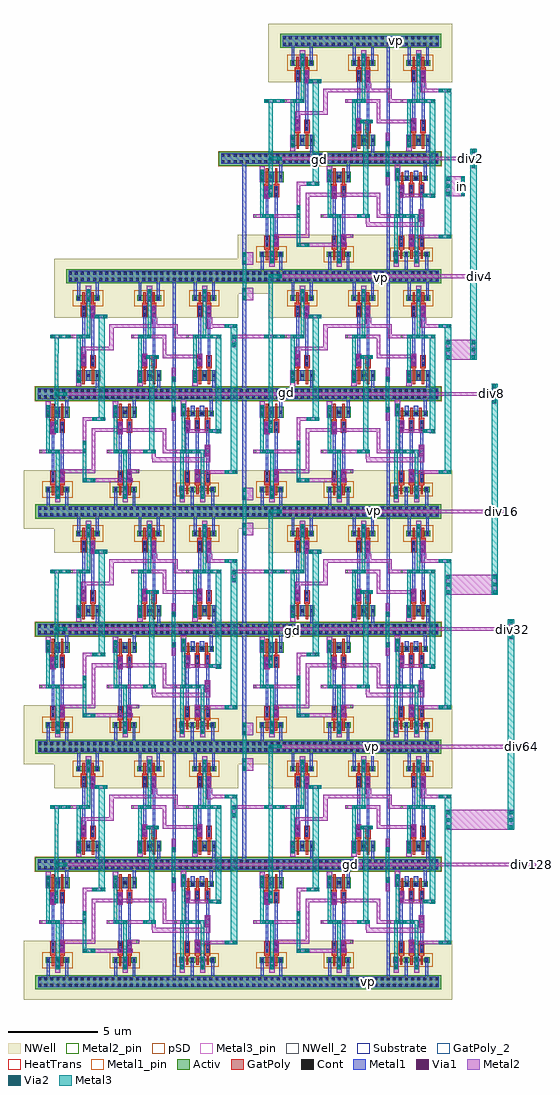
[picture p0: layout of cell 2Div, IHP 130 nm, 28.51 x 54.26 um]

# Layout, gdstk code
from math import pi, radians
import gdstk
lib = gdstk.Library(unit=1e-6, precision=1e-09)
def R(c, l, rs):  # rectangles x0, y0, x1, y1
    for r in rs: c.add(gdstk.rectangle(r[:2], r[2:], *l))
def A(c, l, x, y, w, h, nx, ny, dx, dy):  # array of equal rectangles
    R(c, l, [(x+i*dx, y+j*dy, x+i*dx+w, y+j*dy+h) for i in range(nx) for j in range(ny)])
Activ = (1, 0)
GatPoly = (5, 0)
GatPoly_2 = (5, 2)
Cont = (6, 0)
Metal1 = (8, 0)
Metal1_pin = (8, 2)
Metal2 = (10, 0)
Metal2_pin = (10, 2)
pSD = (14, 0)
Via1 = (19, 0)
Via2 = (29, 0)
Metal3 = (30, 0)
Metal3_pin = (30, 2)
NWell = (31, 0)
NWell_2 = (31, 2)
Substrate = (40, 0)
HeatTrans = (51, 0)

via_16_1_2 = lib.new_cell('Via$16$1$2')
R(via_16_1_2, Metal1, [(-0.105,-0.35,0.105,0.35)])
R(via_16_1_2, Metal2, [(-0.1,-0.35,0.1,0.35)])
R(via_16_1_2, Via1, [(-0.095,-0.3,0.095,-0.11), (-0.095,0.11,0.095,0.3)])

via_1_2_1_3 = lib.new_cell('Via$1$2$1$3')
R(via_1_2_1_3, Metal2, [(-0.1,-0.555,0.1,0.555)])
A(via_1_2_1_3, Via2, -0.095, -0.505, 0.19, 0.19, 1, 3, 0, 0.41)
R(via_1_2_1_3, Metal3, [(-0.1,-0.555,0.1,0.555)])

nmos_3 = lib.new_cell('nmos$3')
A(nmos_3, Activ, 0, 0, 0.3, 0.3, 4, 1, 0.51, 0)
R(nmos_3, Activ, [(0,0,1.83,0.3)])
A(nmos_3, GatPoly, 0.34, -0.18, 0.13, 0.66, 3, 1, 0.51, 0)
R(nmos_3, GatPoly_2, [(0.34,-0.18,0.47,0.48)])
A(nmos_3, Cont, 0.07, 0.07, 0.16, 0.16, 4, 1, 0.51, 0)
A(nmos_3, Metal1, 0.07, 0, 0.16, 0.3, 4, 1, 0.51, 0)
R(nmos_3, Metal1_pin, [(0.07,0,0.23,0.3), (0.58,0,0.74,0.3)])
A(nmos_3, HeatTrans, 0.34, -0.18, 0.13, 0.66, 3, 1, 0.51, 0)
nmos_3.add(gdstk.Label('nmos', (0.405,0.15), layer=63, texttype=0))
nmos_3.add(gdstk.Label('nmos', (0.405,0.15), layer=51, texttype=0))
nmos_3.add(gdstk.Label('nmos', (0.915,0.15), layer=51, texttype=0))
nmos_3.add(gdstk.Label('nmos', (1.425,0.15), layer=51, texttype=0))

ntap1_8_1 = lib.new_cell('ntap1$8$1')
R(ntap1_8_1, Activ, [(0,0,3.5,0.78)])
A(ntap1_8_1, Cont, 0.14, 0.14, 0.16, 0.16, 10, 2, 0.34, 0.34)
R(ntap1_8_1, Metal1, [(0.14,0.09,3.36,0.69)])
R(ntap1_8_1, Metal1_pin, [(0.14,0.09,3.36,0.69), (0.14,0.14,3.36,0.64)])
R(ntap1_8_1, NWell, [(-0.24,-0.24,3.74,1.02), (0,0,3.5,0.78)])
R(ntap1_8_1, NWell_2, [(0,0,3.5,0.78)])
ntap1_8_1.add(gdstk.Label('well', (1.75,0.01), layer=63, texttype=0))
ntap1_8_1.add(gdstk.Label('well', (1.75,0.01), layer=31, texttype=0))

ptap1_5 = lib.new_cell('ptap1$5')
R(ptap1_5, Activ, [(0,0,3.5,0.78)])
A(ptap1_5, Cont, 0.14, 0.14, 0.16, 0.16, 10, 2, 0.34, 0.34)
R(ptap1_5, Metal1, [(0.14,0.09,3.36,0.69), (0.14,0.14,3.36,0.64)])
R(ptap1_5, Metal1_pin, [(0.14,0.14,3.36,0.64)])
R(ptap1_5, pSD, [(-0.03,-0.03,3.53,0.81)])
R(ptap1_5, Substrate, [(0,0,3.5,0.78)])
ptap1_5.add(gdstk.Label('sub!', (1.75,0.01), layer=63, texttype=0))
ptap1_5.add(gdstk.Label('sub!', (1.75,0.01), layer=40, texttype=0))

via_2_2_1_3 = lib.new_cell('Via$2$2$1$3')
R(via_2_2_1_3, Metal2, [(-0.1,-0.35,0.1,0.35)])
R(via_2_2_1_3, Via2, [(-0.095,-0.3,0.095,-0.11), (-0.095,0.11,0.095,0.3)])
R(via_2_2_1_3, Metal3, [(-0.1,-0.35,0.1,0.35)])

via_3_1_1_3 = lib.new_cell('Via$3$1$1$3')
R(via_3_1_1_3, GatPoly, [(-0.32,-0.15,0.32,0.15)])
R(via_3_1_1_3, Cont, [(-0.25,-0.08,-0.09,0.08), (0.09,-0.08,0.25,0.08)])
R(via_3_1_1_3, Metal1, [(-0.3,-0.08,0.3,0.08)])

pmos_3 = lib.new_cell('pmos$3')
A(pmos_3, Activ, 0, 0, 0.3, 0.3, 4, 1, 0.57, 0)
R(pmos_3, Activ, [(0,0.075,2.01,0.225)])
A(pmos_3, GatPoly, 0.37, -0.105, 0.13, 0.51, 3, 1, 0.57, 0)
R(pmos_3, GatPoly, [(0.37,-0.105,0.5,0.405)])
A(pmos_3, Cont, 0.07, 0.07, 0.16, 0.16, 4, 1, 0.57, 0)
A(pmos_3, Metal1, 0.64, 0.02, 0.16, 0.26, 3, 1, 0.57, 0)
R(pmos_3, Metal1, [(0.07,0.02,0.23,0.28), (0.07,0.02,0.23,0.28), (0.64,0.02,0.8,0.28)])
R(pmos_3, pSD, [(-0.18,-0.225,2.19,0.525)])
R(pmos_3, NWell, [(-0.31,-0.31,2.32,0.61)])
R(pmos_3, Substrate, [(1.71,0,2.01,0.3)])
A(pmos_3, HeatTrans, 0.37, -0.105, 0.13, 0.51, 3, 1, 0.57, 0)
pmos_3.add(gdstk.Label('pmos', (0.435,0.15), layer=63, texttype=0))
pmos_3.add(gdstk.Label('pmos', (0.435,0.15), layer=51, texttype=0))
pmos_3.add(gdstk.Label('pmos', (1.005,0.15), layer=51, texttype=0))
pmos_3.add(gdstk.Label('pmos', (1.575,0.15), layer=51, texttype=0))

nand_3in_1_1 = lib.new_cell('NAND_3in$1$1')
R(nand_3in_1_1, GatPoly, [(0.115,-3.025,0.245,-2.915), (0.685,-3.025,0.815,-2.915), (0.035,-3.005,0.335,-2.895), (0.605,-3.005,0.905,-2.895), (1.165,-3.005,1.465,-2.895), (0.03,0.58,0.33,0.73), (0.6,0.58,0.9,0.73), (1.16,0.58,1.46,0.73), (0.68,0.68,0.81,0.77), (1.25,0.68,1.38,0.77)])
R(nand_3in_1_1, Metal1, [(-0.095,-4.15,0.065,-3.37), (0.375,-3.675,0.615,-3.415), (0.885,-3.675,1.125,-3.415), (0.375,-3.435,0.615,-3.095), (0.885,-3.435,1.125,-3.095), (0.67,-2.44,0.835,-2.09), (0.1,-2.42,0.265,-1.91), (0.67,-2.21,0.83,-1.27), (1.23,-2.21,1.39,-1.27), (0.1,-1.91,0.26,-0.56), (0.67,-1.31,0.83,-0.37), (1.23,-1.31,1.39,-0.37), (0.1,-0.62,0.26,-0.04), (1.23,-0.53,1.39,0), (0.67,-0.37,0.83,-0.11), (0.95,1,1.11,1.2), (-0.19,1.01,-0.03,1.15), (-0.19,1.115,-0.03,1.99), (0.95,1.115,1.11,1.94)])
R(nand_3in_1_1, Metal1_pin, [(0.44,-4.405,0.57,-4.275), (0.74,2.15,0.87,2.28)])
R(nand_3in_1_1, Metal2, [(1.375,-3.995,1.665,-3.795), (1.375,-3.795,1.665,-3.095), (1.155,-2.875,1.455,-2.175), (0.03,-1.51,0.33,-0.81), (1.62,-1.24,2.05,-1.04), (0.59,-0.14,0.89,0.56), (0.31,0.78,0.6,0.98), (1.45,0.78,1.74,0.98), (0.31,0.98,0.6,1.68), (1.45,0.98,1.74,1.68)])
R(nand_3in_1_1, Metal2_pin, [(1.255,-2.385,1.385,-2.255), (0.11,-1.215,0.24,-1.085), (1.905,-1.205,2.035,-1.075), (0.69,-0.07,0.82,0.06)])
R(nand_3in_1_1, Metal3, [(1.425,-3.105,1.625,-2.905), (1.425,-2.905,1.625,-2.5), (1.425,-2.5,1.625,-1.15), (0.36,-1.24,0.56,-0.97), (0.38,-1.24,0.565,-1.04), (1.66,-1.24,1.7,-1.09), (1.5,-1.09,1.7,0.17), (0.36,-0.97,0.56,0.26), (1.5,-0.03,1.7,0.62), (0.36,0.08,0.56,0.78), (1.5,0.62,1.7,0.72), (1.5,0.71,1.7,0.87)])
R(nand_3in_1_1, NWell, [(-1.52,-0.1,-0.85,3.17), (-0.85,-0.1,2.93,3.17)])
nand_3in_1_1.add(gdstk.Reference(via_16_1_2, (1.525,-3.445), rotation=pi))
nand_3in_1_1.add(gdstk.Reference(via_16_1_2, (1.315,-2.525), rotation=pi))
nand_3in_1_1.add(gdstk.Reference(via_16_1_2, (0.18,-1.16), rotation=pi))
nand_3in_1_1.add(gdstk.Reference(via_16_1_2, (0.75,0.21), rotation=pi))
nand_3in_1_1.add(gdstk.Reference(via_16_1_2, (0.46,1.13), rotation=pi))
nand_3in_1_1.add(gdstk.Reference(via_16_1_2, (1.6,1.13), rotation=pi))
nand_3in_1_1.add(gdstk.Reference(via_1_2_1_3, (1.12,-1.14), rotation=3*pi/2))
nand_3in_1_1.add(gdstk.Reference(nmos_3, (1.665,-3.095), rotation=pi))
nand_3in_1_1.add(gdstk.Reference(ntap1_8_1, (-0.9,1.81)))
nand_3in_1_1.add(gdstk.Reference(ptap1_5, (-0.89,-4.73)))
nand_3in_1_1.add(gdstk.Reference(via_2_2_1_3, (1.525,-3.445), rotation=pi))
nand_3in_1_1.add(gdstk.Reference(via_2_2_1_3, (0.46,1.13), rotation=pi))
nand_3in_1_1.add(gdstk.Reference(via_2_2_1_3, (1.6,1.13), rotation=pi))
nand_3in_1_1.add(gdstk.Reference(via_3_1_1_3, (0.185,-2.575), rotation=3*pi/2))
nand_3in_1_1.add(gdstk.Reference(via_3_1_1_3, (0.755,-2.575), rotation=3*pi/2))
nand_3in_1_1.add(gdstk.Reference(via_3_1_1_3, (1.315,-2.575), rotation=3*pi/2))
nand_3in_1_1.add(gdstk.Reference(via_3_1_1_3, (0.18,0.26), rotation=3*pi/2))
nand_3in_1_1.add(gdstk.Reference(via_3_1_1_3, (0.75,0.26), rotation=3*pi/2))
nand_3in_1_1.add(gdstk.Reference(via_3_1_1_3, (1.31,0.26), rotation=3*pi/2))
nand_3in_1_1.add(gdstk.Reference(pmos_3, (1.75,1.13), rotation=pi))
nand_3in_1_1.add(gdstk.Label('VP', (0.8,2.21), layer=8, texttype=25))
nand_3in_1_1.add(gdstk.Label('GND', (0.505,-4.335), layer=8, texttype=25))
nand_3in_1_1.add(gdstk.Label('y', (1.97,-1.14), layer=10, texttype=25))
nand_3in_1_1.add(gdstk.Label('b', (0.76,0.02), layer=10, texttype=25))
nand_3in_1_1.add(gdstk.Label('c', (0.17,-1.15), layer=10, texttype=25))
nand_3in_1_1.add(gdstk.Label('a', (1.315,-2.325), layer=10, texttype=25))

ntap1_7 = lib.new_cell('ntap1$7')
R(ntap1_7, Activ, [(0,0,2.5,0.78)])
A(ntap1_7, Cont, 0.15, 0.14, 0.16, 0.16, 7, 2, 0.34, 0.34)
R(ntap1_7, Metal1, [(0.15,0.09,2.35,0.69)])
R(ntap1_7, Metal1_pin, [(0.15,0.09,2.35,0.69), (0.15,0.14,2.35,0.64)])
R(ntap1_7, NWell, [(-0.24,-0.24,2.74,1.02), (0,0,2.5,0.78)])
R(ntap1_7, NWell_2, [(0,0,2.5,0.78)])
ntap1_7.add(gdstk.Label('well', (1.25,0.01), layer=63, texttype=0))
ntap1_7.add(gdstk.Label('well', (1.25,0.01), layer=31, texttype=0))

ptap1_4_1 = lib.new_cell('ptap1$4$1')
R(ptap1_4_1, Activ, [(0,0,2.5,0.78)])
A(ptap1_4_1, Cont, 0.15, 0.14, 0.16, 0.16, 7, 2, 0.34, 0.34)
R(ptap1_4_1, Metal1, [(0.15,0.09,2.35,0.69), (0.15,0.14,2.35,0.64)])
R(ptap1_4_1, Metal1_pin, [(0.15,0.14,2.35,0.64)])
R(ptap1_4_1, pSD, [(-0.03,-0.03,2.53,0.81)])
R(ptap1_4_1, Substrate, [(0,0,2.5,0.78)])
ptap1_4_1.add(gdstk.Label('sub!', (1.25,0.01), layer=63, texttype=0))
ptap1_4_1.add(gdstk.Label('sub!', (1.25,0.01), layer=40, texttype=0))

via_15_1 = lib.new_cell('Via$15$1')
R(via_15_1, Metal2, [(-0.1,-0.35,0.1,0.35)])
R(via_15_1, Via2, [(-0.095,-0.3,0.095,-0.11), (-0.095,0.11,0.095,0.3)])
R(via_15_1, Metal3, [(-0.1,-0.35,0.1,0.35)])

via_1_1_1_3 = lib.new_cell('Via$1$1$1$3')
R(via_1_1_1_3, Metal1, [(-0.105,-0.35,0.105,0.35)])
R(via_1_1_1_3, Metal2, [(-0.1,-0.35,0.1,0.35)])
R(via_1_1_1_3, Via1, [(-0.095,-0.3,0.095,-0.11), (-0.095,0.11,0.095,0.3)])

via_2_1_1_3 = lib.new_cell('Via$2$1$1$3')
R(via_2_1_1_3, GatPoly, [(-0.32,-0.15,0.32,0.15)])
R(via_2_1_1_3, Cont, [(-0.25,-0.08,-0.09,0.08), (0.09,-0.08,0.25,0.08)])
R(via_2_1_1_3, Metal1, [(-0.3,-0.08,0.3,0.08)])

pmos_2_1 = lib.new_cell('pmos$2$1')
A(pmos_2_1, Activ, 0, 0, 0.3, 0.3, 3, 1, 0.51, 0)
R(pmos_2_1, Activ, [(0,0,1.32,0.3)])
R(pmos_2_1, GatPoly, [(0.34,-0.18,0.47,0.48), (0.34,-0.18,0.47,0.48), (0.85,-0.18,0.98,0.48)])
A(pmos_2_1, Cont, 0.07, 0.07, 0.16, 0.16, 3, 1, 0.51, 0)
R(pmos_2_1, Metal1, [(0.07,0,0.23,0.3), (0.07,0,0.23,0.3), (0.58,0,0.74,0.3), (0.58,0,0.74,0.3), (1.09,0,1.25,0.3)])
R(pmos_2_1, pSD, [(-0.18,-0.3,1.5,0.6)])
R(pmos_2_1, NWell, [(-0.31,-0.31,1.63,0.61)])
R(pmos_2_1, Substrate, [(1.02,0,1.32,0.3)])
R(pmos_2_1, HeatTrans, [(0.34,-0.18,0.47,0.48), (0.85,-0.18,0.98,0.48)])
pmos_2_1.add(gdstk.Label('pmos', (0.405,0.15), layer=63, texttype=0))
pmos_2_1.add(gdstk.Label('pmos', (0.405,0.15), layer=51, texttype=0))
pmos_2_1.add(gdstk.Label('pmos', (0.915,0.15), layer=51, texttype=0))

nmos_2_1 = lib.new_cell('nmos$2$1')
A(nmos_2_1, Activ, 0, 0, 0.3, 0.3, 3, 1, 0.51, 0)
R(nmos_2_1, Activ, [(0,0,1.32,0.6)])
R(nmos_2_1, GatPoly, [(0.34,-0.18,0.47,0.78), (0.85,-0.18,0.98,0.78)])
R(nmos_2_1, GatPoly_2, [(0.34,-0.18,0.47,0.78)])
A(nmos_2_1, Cont, 0.07, 0.22, 0.16, 0.16, 3, 1, 0.51, 0)
A(nmos_2_1, Metal1, 0.07, 0, 0.16, 0.6, 3, 1, 0.51, 0)
R(nmos_2_1, Metal1_pin, [(0.07,0,0.23,0.6), (0.58,0,0.74,0.6)])
R(nmos_2_1, HeatTrans, [(0.34,-0.18,0.47,0.78), (0.85,-0.18,0.98,0.78)])
nmos_2_1.add(gdstk.Label('nmos', (0.405,0.3), layer=63, texttype=0))
nmos_2_1.add(gdstk.Label('nmos', (0.405,0.3), layer=51, texttype=0))
nmos_2_1.add(gdstk.Label('nmos', (0.915,0.3), layer=51, texttype=0))

nand_2in_x2_1 = lib.new_cell('NAND_2in_x2$1')
R(nand_2in_x2_1, GatPoly, [(0.63,-2.93,0.93,-2.82), (1.15,-2.93,1.45,-2.82), (0.645,0.58,0.945,0.73), (1.145,0.58,1.445,0.73), (0.725,0.68,0.855,0.77)])
R(nand_2in_x2_1, Metal1, [(0.445,-4.32,0.605,-3.295), (0.915,-3.6,1.155,-3.34), (0.915,-3.36,1.155,-3.02), (0.7,-2.68,0.86,0.26), (1.215,-2.21,1.375,-1.27), (1.215,-1.31,1.375,-0.37), (1.215,-0.37,1.375,-0.01), (0.455,1.01,0.615,1.15), (0.455,1.115,0.615,1.99), (1.475,1.115,1.635,1.94)])
R(nand_2in_x2_1, Metal1_pin, [(0.44,-4.32,0.57,-4.19), (0.4,2.15,0.53,2.28)])
R(nand_2in_x2_1, Metal2, [(1.415,-3.92,1.705,-3.72), (1.415,-3.72,1.705,-3.02), (1.15,-2.8,1.45,-2.1), (1.62,-1.24,2.05,-1.04), (0.645,-0.14,0.945,0.56), (0.88,0.78,1.17,0.98), (0.88,0.98,1.17,1.68)])
R(nand_2in_x2_1, Metal2_pin, [(1.24,-2.27,1.37,-2.14), (1.905,-1.205,2.035,-1.075), (0.735,-0.1,0.865,0.03)])
R(nand_2in_x2_1, Metal3, [(1.465,-3.03,1.665,-2.83), (1.465,-2.905,1.665,-1.045), (0.93,-1.09,1.13,0.17), (0.93,0.1,1.13,0.62), (0.93,0.62,1.13,0.72), (0.93,0.71,1.13,0.87)])
R(nand_2in_x2_1, NWell, [(-0.85,-0.1,2.93,3.17)])
nand_2in_x2_1.add(gdstk.Reference(ntap1_7, (-0.23,1.81)))
nand_2in_x2_1.add(gdstk.Reference(ptap1_4_1, (-0.22,-4.73)))
nand_2in_x2_1.add(gdstk.Reference(via_15_1, (1.27,-1.14), rotation=3*pi/2))
nand_2in_x2_1.add(gdstk.Reference(via_1_1_1_3, (1.565,-3.37), rotation=pi))
nand_2in_x2_1.add(gdstk.Reference(via_1_1_1_3, (1.3,-2.45), rotation=pi))
nand_2in_x2_1.add(gdstk.Reference(via_1_1_1_3, (0.795,0.21), rotation=pi))
nand_2in_x2_1.add(gdstk.Reference(via_1_1_1_3, (1.03,1.13), rotation=pi))
nand_2in_x2_1.add(gdstk.Reference(via_2_1_1_3, (1.3,-2.5), rotation=3*pi/2))
nand_2in_x2_1.add(gdstk.Reference(via_2_1_1_3, (0.795,0.26), rotation=3*pi/2))
nand_2in_x2_1.add(gdstk.Reference(via_2_1_1_3, (1.295,0.26), rotation=3*pi/2))
nand_2in_x2_1.add(gdstk.Reference(via_15_1, (1.565,-3.37), rotation=pi))
nand_2in_x2_1.add(gdstk.Reference(via_15_1, (1.03,1.13), rotation=pi))
nand_2in_x2_1.add(gdstk.Reference(pmos_2_1, (1.705,1.13), rotation=pi))
nand_2in_x2_1.add(gdstk.Reference(via_2_1_1_3, (0.78,-2.5), rotation=3*pi/2))
nand_2in_x2_1.add(gdstk.Reference(nmos_2_1, (1.695,-3.02), rotation=pi))
nand_2in_x2_1.add(gdstk.Label('GND', (0.505,-4.25), layer=8, texttype=25))
nand_2in_x2_1.add(gdstk.Label('VP', (0.46,2.21), layer=8, texttype=25))
nand_2in_x2_1.add(gdstk.Label('b', (0.795,-0.04), layer=10, texttype=25))
nand_2in_x2_1.add(gdstk.Label('a', (1.3,-2.21), layer=10, texttype=25))
nand_2in_x2_1.add(gdstk.Label('y', (1.97,-1.14), layer=10, texttype=25))

ntap1_3_1_5 = lib.new_cell('ntap1$3$1$5')
R(ntap1_3_1_5, Activ, [(0,0,1.8,0.78)])
A(ntap1_3_1_5, Cont, 0.14, 0.14, 0.16, 0.16, 5, 2, 0.34, 0.34)
R(ntap1_3_1_5, Metal1, [(0.14,0.09,1.66,0.69)])
R(ntap1_3_1_5, Metal1_pin, [(0.14,0.09,1.66,0.69), (0.14,0.14,1.66,0.64)])
R(ntap1_3_1_5, NWell, [(-0.24,-0.24,2.04,1.02), (0,0,1.8,0.78)])
R(ntap1_3_1_5, NWell_2, [(0,0,1.8,0.78)])
ntap1_3_1_5.add(gdstk.Label('well', (0.9,0.01), layer=63, texttype=0))
ntap1_3_1_5.add(gdstk.Label('well', (0.9,0.01), layer=31, texttype=0))

via_18_2 = lib.new_cell('Via$18$2')
R(via_18_2, Metal2, [(-0.35,-0.1,0.35,0.1)])
R(via_18_2, Via2, [(-0.3,-0.095,-0.11,0.095), (0.11,-0.095,0.3,0.095)])
R(via_18_2, Metal3, [(-0.35,-0.1,0.35,0.1)])

via_12_1 = lib.new_cell('Via$12$1')
R(via_12_1, Metal2, [(-0.555,-0.1,0.555,0.1)])
A(via_12_1, Via2, -0.505, -0.095, 0.19, 0.19, 3, 1, 0.41, 0)
R(via_12_1, Metal3, [(-0.555,-0.1,0.555,0.1)])

via_8_1 = lib.new_cell('Via$8$1')
R(via_8_1, Metal2, [(-0.1,-0.35,0.1,0.35)])
R(via_8_1, Via2, [(-0.095,-0.3,0.095,-0.11), (-0.095,0.11,0.095,0.3)])
R(via_8_1, Metal3, [(-0.1,-0.35,0.1,0.35)])

via_13_1 = lib.new_cell('Via$13$1')
R(via_13_1, Metal2, [(-0.76,-0.1,0.76,0.1)])
A(via_13_1, Via2, -0.71, -0.095, 0.19, 0.19, 4, 1, 0.41, 0)
R(via_13_1, Metal3, [(-0.76,-0.1,0.76,0.1)])

ntap1_10 = lib.new_cell('ntap1$10')
R(ntap1_10, Activ, [(0,0,2.1,0.78)])
A(ntap1_10, Cont, 0.12, 0.14, 0.16, 0.16, 6, 2, 0.34, 0.34)
R(ntap1_10, Metal1, [(0.12,0.09,1.98,0.69)])
R(ntap1_10, Metal1_pin, [(0.12,0.09,1.98,0.69), (0.12,0.14,1.98,0.64)])
R(ntap1_10, NWell, [(-0.24,-0.24,2.34,1.02), (0,0,2.1,0.78)])
R(ntap1_10, NWell_2, [(0,0,2.1,0.78)])
ntap1_10.add(gdstk.Label('well', (1.05,0.01), layer=63, texttype=0))
ntap1_10.add(gdstk.Label('well', (1.05,0.01), layer=31, texttype=0))

via_17_1_2 = lib.new_cell('Via$17$1$2')
R(via_17_1_2, Metal1, [(-0.145,-0.105,0.145,0.105)])
R(via_17_1_2, Metal2, [(-0.145,-0.1,0.145,0.1)])
R(via_17_1_2, Via1, [(-0.095,-0.095,0.095,0.095)])

via_19 = lib.new_cell('Via$19')
R(via_19, Metal2, [(-0.145,-0.1,0.145,0.1)])
R(via_19, Via2, [(-0.095,-0.095,0.095,0.095)])
R(via_19, Metal3, [(-0.145,-0.1,0.145,0.1)])

d_flip_flop = lib.new_cell('d_flip_flop')
R(d_flip_flop, Metal1, [(3.27,-5.01,3.43,0.76), (3.27,2.17,3.43,7.94)])
R(d_flip_flop, Metal1_pin, [(5.635,-5.155,5.765,-5.025), (4.995,1.37,5.125,1.5), (4.405,7.965,4.535,8.095)])
R(d_flip_flop, Metal2, [(-0.15,-2.95,1.29,-2.75), (1.29,-2.95,1.96,-2.75), (5.3,-2.91,5.88,-2.71), (7.74,-2.91,9.52,-2.71), (7.74,-2.81,7.94,-2.31), (1.34,-2.31,1.6,-2.04), (1.36,-2.31,4.58,-2.04), (7.74,-2.31,7.94,-1.39), (4.38,-2.13,4.585,-1.73), (3.36,-1.81,3.94,-1.61), (3.79,-1.81,3.99,-1.39), (4.38,-1.81,4.67,-1.61), (4.67,-1.81,6.02,-1.61), (8.24,-1.81,8.44,-0.89), (8.27,-1.81,9.71,-1.61), (3.79,-1.39,3.99,-0.43), (7.74,-1.39,7.94,-0.49), (8.24,-0.89,8.44,0.19), (1.38,-0.67,2.58,-0.47), (3.79,-0.62,4.07,-0.42), (4.07,-0.62,4.65,-0.42), (4.65,-0.62,6.26,-0.42), (6.16,-0.62,7.94,-0.42), (7.69,-0.01,8.27,0.19), (3.28,0,3.48,0.765), (3.28,2.165,3.48,2.93), (1.79,3.46,3.17,3.66), (3.17,3.46,3.99,3.66), (3.79,3.53,3.99,4.17), (8.24,3.655,8.505,4.12), (6.71,3.92,6.96,5.17), (6.71,3.92,7.72,4.12), (7.72,3.92,8.47,4.12), (3.79,4.17,3.99,4.59), (2.465,4.59,3.35,4.79), (3.79,4.59,4.61,4.79), (9.14,4.59,10.17,4.79), (3.15,4.79,3.35,5.21), (0.13,5.17,0.61,5.37), (0.61,5.17,1.48,5.37), (1.23,5.17,1.53,5.19), (3.15,5.17,3.67,5.37), (3.67,5.17,4.54,5.37), (4.22,5.17,6.21,5.37), (6.21,5.17,6.96,5.37), (1.23,5.19,1.53,5.69), (4.29,5.29,4.59,5.69)])
R(d_flip_flop, Metal2_pin, [(5.325,-2.88,5.455,-2.75), (10.695,-1.775,10.825,-1.645), (10.075,4.625,10.205,4.755)])
R(d_flip_flop, Metal3, [(-0.15,-2.85,0.2,-2.45), (-0.15,-2.45,0.2,4.28), (4.45,-1.81,4.73,2.56), (0.73,-0.7,1.05,3.6), (9.78,-0.47,9.98,3.76), (7.205,0.09,7.54,4.77), (3.28,0.475,3.48,2.455), (4.45,2.56,4.73,3.49), (0.73,3.6,1.05,4.69), (9.775,3.76,9.98,4.69), (-0.15,4.28,0.2,5.23), (7.205,4.77,7.54,5.76)])
R(d_flip_flop, Metal3_pin, [(-0.045,1.42,0.085,1.55)])
d_flip_flop.add(gdstk.Reference(nand_3in_1_1, (1.31,-2.85), x_reflection=True))
d_flip_flop.add(gdstk.Reference(nand_2in_x2_1, (3.69,5.83)))
d_flip_flop.add(gdstk.Reference(nand_2in_x2_1, (0.63,5.83)))
d_flip_flop.add(gdstk.Reference(ntap1_3_1_5, (2.45,7.64)))
d_flip_flop.add(gdstk.Reference(ntap1_3_1_5, (5.51,7.64)))
d_flip_flop.add(gdstk.Reference(via_18_2, (0.2,-2.85), rotation=pi))
d_flip_flop.add(gdstk.Reference(via_18_2, (0.2,5.27), rotation=pi))
d_flip_flop.add(gdstk.Reference(via_12_1, (9.68,4.69), rotation=pi))
d_flip_flop.add(gdstk.Reference(via_8_1, (9.88,-0.32), rotation=pi))
d_flip_flop.add(gdstk.Reference(via_18_2, (1.08,-0.57), rotation=pi))
d_flip_flop.add(gdstk.Reference(via_13_1, (1.49,4.69), rotation=pi))
d_flip_flop.add(gdstk.Reference(via_18_2, (7.54,0.09), rotation=pi))
d_flip_flop.add(gdstk.Reference(via_18_2, (7.41,5.79), rotation=pi))
d_flip_flop.add(gdstk.Reference(via_18_2, (4.73,-1.71), rotation=pi))
d_flip_flop.add(gdstk.Reference(via_18_2, (4.56,3.55), rotation=pi))
d_flip_flop.add(gdstk.Reference(ntap1_3_1_5, (3.47,-5.44)))
d_flip_flop.add(gdstk.Reference(ntap1_10, (6.89,-5.44)))
d_flip_flop.add(gdstk.Reference(nand_2in_x2_1, (7.09,5.83)))
d_flip_flop.add(gdstk.Reference(nand_2in_x2_1, (5.05,-2.85), x_reflection=True))
d_flip_flop.add(gdstk.Reference(nand_2in_x2_1, (8.79,-2.85), x_reflection=True))
d_flip_flop.add(gdstk.Reference(via_17_1_2, (3.38,0.62), rotation=pi/2))
d_flip_flop.add(gdstk.Reference(via_17_1_2, (3.38,2.31), rotation=pi/2))
d_flip_flop.add(gdstk.Reference(via_19, (3.38,2.31), rotation=pi/2))
d_flip_flop.add(gdstk.Reference(via_17_1_2, (3.38,0.62), rotation=pi/2))
d_flip_flop.add(gdstk.Reference(via_19, (3.38,0.62), rotation=pi/2))
d_flip_flop.add(gdstk.Label('VP', (4.47,8.03), layer=8, texttype=25))
d_flip_flop.add(gdstk.Label('VP', (5.7,-5.09), layer=8, texttype=25))
d_flip_flop.add(gdstk.Label('GND', (5.06,1.43), layer=8, texttype=25))
d_flip_flop.add(gdstk.Label('q', (10.14,4.69), layer=10, texttype=25))
d_flip_flop.add(gdstk.Label('d', (5.39,-2.81), layer=10, texttype=25))
d_flip_flop.add(gdstk.Label('q_', (10.76,-1.71), layer=10, texttype=25))
d_flip_flop.add(gdstk.Label('clk', (0.02,1.48), layer=30, texttype=25))

via_39 = lib.new_cell('Via$39')
R(via_39, Metal2, [(-0.1,-0.35,0.1,0.35)])
R(via_39, Via2, [(-0.095,-0.3,0.095,-0.11), (-0.095,0.11,0.095,0.3)])
R(via_39, Metal3, [(-0.1,-0.35,0.1,0.35)])

via_40 = lib.new_cell('Via$40')
R(via_40, Metal2, [(-0.1,-0.555,0.1,0.555)])
A(via_40, Via2, -0.095, -0.505, 0.19, 0.19, 1, 3, 0, 0.41)
R(via_40, Metal3, [(-0.1,-0.555,0.1,0.555)])

via_55 = lib.new_cell('Via$55')
R(via_55, Metal2, [(-0.35,-0.1,0.35,0.1)])
R(via_55, Via2, [(-0.3,-0.095,-0.11,0.095), (0.11,-0.095,0.3,0.095)])
R(via_55, Metal3, [(-0.35,-0.1,0.35,0.1)])

ntap1_50 = lib.new_cell('ntap1$50')
R(ntap1_50, Activ, [(0,0,7.8,0.78)])
A(ntap1_50, Cont, 0.08, 0.14, 0.16, 0.16, 23, 2, 0.34, 0.34)
R(ntap1_50, Metal1, [(0.08,0.09,7.72,0.69)])
R(ntap1_50, Metal1_pin, [(0.08,0.09,7.72,0.69), (0.08,0.14,7.72,0.64)])
R(ntap1_50, NWell, [(-0.24,-0.24,8.04,1.02), (0,0,7.8,0.78)])
R(ntap1_50, NWell_2, [(0,0,7.8,0.78)])
ntap1_50.add(gdstk.Label('well', (3.9,0.01), layer=63, texttype=0))
ntap1_50.add(gdstk.Label('well', (3.9,0.01), layer=31, texttype=0))

ptap1_33 = lib.new_cell('ptap1$33')
R(ptap1_33, Activ, [(0,0,0.78,0.78)])
R(ptap1_33, Cont, [(0.14,0.14,0.3,0.3), (0.48,0.14,0.64,0.3), (0.14,0.48,0.3,0.64), (0.48,0.48,0.64,0.64)])
R(ptap1_33, Metal1, [(0.14,0.09,0.64,0.69), (0.14,0.14,0.64,0.64)])
R(ptap1_33, Metal1_pin, [(0.14,0.14,0.64,0.64)])
R(ptap1_33, pSD, [(-0.03,-0.03,0.81,0.81)])
R(ptap1_33, Substrate, [(0,0,0.78,0.78)])
ptap1_33.add(gdstk.Label('sub!', (0.39,0.01), layer=63, texttype=0))
ptap1_33.add(gdstk.Label('sub!', (0.39,0.01), layer=40, texttype=0))

via_1_10 = lib.new_cell('Via$1$10')
R(via_1_10, Metal1, [(-0.105,-0.35,0.105,0.35)])
R(via_1_10, Metal2, [(-0.1,-0.35,0.1,0.35)])
R(via_1_10, Via1, [(-0.095,-0.3,0.095,-0.11), (-0.095,0.11,0.095,0.3)])

c_2div = lib.new_cell('2Div')
A(c_2div, Metal1, -79.2, -1.29, 0.21, 5.26, 1, 3, 0, 13.08)
A(c_2div, Metal1, -79.2, 6.28, 0.21, 4.91, 1, 3, 0, 13.08)
R(c_2div, Metal1_pin, [(-72.275,-8.145,-72.145,-8.015), (-73.235,-1.685,-73.105,-1.555), (-72.065,4.925,-71.935,5.055), (-76.485,11.345,-76.355,11.475), (-71.905,18.025,-71.775,18.155), (-76.805,24.605,-76.675,24.735), (-71.515,30.975,-71.385,31.105), (-74.995,37.545,-74.865,37.675), (-70.725,44.165,-70.595,44.295)])
A(c_2div, Metal2, -88.09, -6.49, 2.79, 0.21, 1, 3, 0, 13.08)
A(c_2div, Metal2, -76.19, -6.49, 2.79, 0.21, 1, 4, 0, 13.08)
A(c_2div, Metal2, -89.55, -1.69, 12.14, 0.2, 1, 3, 0, 13.08)
A(c_2div, Metal2, -77.73, -1.69, 1.81, 0.2, 1, 7, 0, 6.54)
A(c_2div, Metal2, -75.97, -1.69, 3.51, 0.2, 1, 7, 0, 6.54)
A(c_2div, Metal2, -72.46, -1.69, 5.12, 0.2, 1, 7, 0, 6.54)
A(c_2div, Metal2, -67.48, -1.69, 1.16, 0.2, 1, 7, 0, 6.54)
A(c_2div, Metal2, -79.78, 1.51, 1.795, 0.2, 1, 3, 0, 13.08)
R(c_2div, Metal2, [(-66.32,-1.69,-62.86,-1.49), (-67.87,0.335,-64.1,1.445), (-81.18,2.04,-80.88,2.62), (-79.195,3.62,-78.605,4.32), (-66.43,4.85,-64.495,5.05), (-64.495,4.85,-63.4,5.05), (-79.195,5.58,-78.605,6.28), (-66.45,11.39,-63.9,11.59), (-67.87,13.41,-66.26,14.52), (-66.41,13.41,-65.07,14.52), (-79.195,16.7,-78.605,17.4), (-66.43,17.93,-64.495,18.13), (-79.195,18.66,-78.605,19.36), (-66.35,24.47,-65.09,24.67), (-67.87,26.47,-66.26,27.58), (-81.18,28.2,-80.88,28.82), (-79.195,29.78,-78.605,30.48), (-66.39,31.01,-65.74,31.21), (-79.195,31.74,-78.605,32.44), (-67.87,35.56,-66.85,36.67)])
R(c_2div, Metal2_pin, [(-63.195,-1.655,-63.065,-1.525), (-63.755,4.885,-63.625,5.015), (-64.245,11.425,-64.115,11.555), (-64.845,17.965,-64.715,18.095), (-65.435,24.505,-65.305,24.635), (-66.075,31.055,-65.945,31.185), (-66.585,37.595,-66.455,37.725)])
A(c_2div, Metal3, -88.09, -6.49, 0.2, 1.6, 1, 3, 0, 13.08)
A(c_2div, Metal3, -76.19, -6.49, 0.2, 1.6, 1, 4, 0, 13.08)
A(c_2div, Metal3, -77.73, 1.1, 0.2, 3.94, 1, 3, 0, 13.08)
A(c_2div, Metal3, -77.68, 1.47, 0.155, 3.58, 1, 3, 0, 13.08)
A(c_2div, Metal3, -79.195, 3.97, 0.2, 1.93, 1, 3, 0, 13.08)
R(c_2div, Metal3, [(-64.44,0.335,-64.3,2.23), (-64.3,0.335,-64.1,2.23), (-64.44,2.08,-64.1,12.05), (-64.44,2.23,-64.1,2.6), (-64.44,2.23,-64.1,2.6), (-65.35,13.41,-65.01,25.13), (-66.53,26.47,-66.19,38.21), (-66.53,36.3,-66.19,36.67), (-66.53,36.3,-66.19,36.67), (-66.53,36.53,-66.19,38.21)])
R(c_2div, Metal3_pin, [(-67.015,36.055,-66.885,36.185)])
c_2div.add(gdstk.Reference(d_flip_flop, (-67.75,23.08), rotation=pi, x_reflection=True))
c_2div.add(gdstk.Reference(d_flip_flop, (-67.75,-3.08), rotation=pi, x_reflection=True))
c_2div.add(gdstk.Reference(via_39, (-76.09,34.7), rotation=pi, x_reflection=True))
c_2div.add(gdstk.Reference(via_39, (-75.84,32.85), rotation=3*pi/2, x_reflection=True))
c_2div.add(gdstk.Reference(via_39, (-76.09,21.62), rotation=pi, x_reflection=True))
c_2div.add(gdstk.Reference(via_39, (-75.84,19.77), rotation=3*pi/2, x_reflection=True))
c_2div.add(gdstk.Reference(via_39, (-76.09,8.54), rotation=pi, x_reflection=True))
c_2div.add(gdstk.Reference(via_39, (-75.84,6.69), rotation=3*pi/2, x_reflection=True))
c_2div.add(gdstk.Reference(via_39, (-76.09,-4.54), rotation=pi, x_reflection=True))
c_2div.add(gdstk.Reference(via_39, (-75.84,-6.39), rotation=3*pi/2, x_reflection=True))
c_2div.add(gdstk.Reference(via_39, (-87.99,21.62), rotation=pi, x_reflection=True))
c_2div.add(gdstk.Reference(via_39, (-87.74,19.77), rotation=3*pi/2, x_reflection=True))
c_2div.add(gdstk.Reference(via_39, (-87.99,8.54), rotation=pi, x_reflection=True))
c_2div.add(gdstk.Reference(via_39, (-87.74,6.69), rotation=3*pi/2, x_reflection=True))
c_2div.add(gdstk.Reference(via_39, (-87.99,-4.54), rotation=pi, x_reflection=True))
c_2div.add(gdstk.Reference(via_39, (-87.74,-6.39), rotation=3*pi/2, x_reflection=True))
c_2div.add(gdstk.Reference(via_39, (-79.68,27.52), rotation=pi, x_reflection=True))
c_2div.add(gdstk.Reference(via_39, (-79.68,14.44), rotation=pi, x_reflection=True))
c_2div.add(gdstk.Reference(via_39, (-79.68,1.36), rotation=pi, x_reflection=True))
c_2div.add(gdstk.Reference(via_40, (-66.95,36.115)))
c_2div.add(gdstk.Reference(via_40, (-67.77,36.115)))
c_2div.add(gdstk.Reference(via_55, (-77.38,37.65)))
c_2div.add(gdstk.Reference(via_40, (-66.36,37.655)))
c_2div.add(gdstk.Reference(via_40, (-66.36,27.025)))
c_2div.add(gdstk.Reference(via_40, (-67.77,27.025)))
c_2div.add(gdstk.Reference(via_55, (-89.28,24.57)))
c_2div.add(gdstk.Reference(via_55, (-89.28,11.49)))
c_2div.add(gdstk.Reference(via_55, (-89.28,-1.59)))
c_2div.add(gdstk.Reference(via_55, (-77.38,31.11)))
c_2div.add(gdstk.Reference(via_55, (-77.38,18.03)))
c_2div.add(gdstk.Reference(via_40, (-65.19,24.575)))
c_2div.add(gdstk.Reference(via_40, (-65.17,13.975)))
c_2div.add(gdstk.Reference(via_40, (-67.77,13.97)))
c_2div.add(gdstk.Reference(via_40, (-64.27,11.495)))
c_2div.add(gdstk.Reference(via_55, (-77.38,4.955)))
c_2div.add(gdstk.Reference(via_40, (-64.27,0.89)))
c_2div.add(gdstk.Reference(via_40, (-67.77,0.89)))
c_2div.add(gdstk.Reference(d_flip_flop, (-67.75,10), rotation=pi, x_reflection=True))
c_2div.add(gdstk.Reference(d_flip_flop, (-79.65,-3.08), rotation=pi, x_reflection=True))
c_2div.add(gdstk.Reference(d_flip_flop, (-67.75,36.16), rotation=pi, x_reflection=True))
c_2div.add(gdstk.Reference(d_flip_flop, (-79.65,10), rotation=pi, x_reflection=True))
c_2div.add(gdstk.Reference(ntap1_50, (-80.44,4.56)))
c_2div.add(gdstk.Reference(ntap1_50, (-80.44,30.72)))
c_2div.add(gdstk.Reference(ntap1_50, (-80.44,17.64)))
c_2div.add(gdstk.Reference(ntap1_50, (-80.44,-8.52)))
c_2div.add(gdstk.Reference(ptap1_33, (-78.37,11.1), rotation=pi, x_reflection=True))
c_2div.add(gdstk.Reference(ptap1_33, (-78.71,11.1), rotation=pi, x_reflection=True))
c_2div.add(gdstk.Reference(ptap1_33, (-79.05,11.1), rotation=pi, x_reflection=True))
c_2div.add(gdstk.Reference(ptap1_33, (-79.39,11.1), rotation=pi, x_reflection=True))
c_2div.add(gdstk.Reference(ptap1_33, (-78.37,24.18), rotation=pi, x_reflection=True))
c_2div.add(gdstk.Reference(ptap1_33, (-78.71,24.18), rotation=pi, x_reflection=True))
c_2div.add(gdstk.Reference(ptap1_33, (-79.05,24.18), rotation=pi, x_reflection=True))
c_2div.add(gdstk.Reference(ptap1_33, (-79.39,24.18), rotation=pi, x_reflection=True))
c_2div.add(gdstk.Reference(ptap1_33, (-79.73,24.18), rotation=pi, x_reflection=True))
c_2div.add(gdstk.Reference(ptap1_33, (-79.73,11.1), rotation=pi, x_reflection=True))
c_2div.add(gdstk.Reference(ptap1_33, (-78.37,-1.98), rotation=pi, x_reflection=True))
c_2div.add(gdstk.Reference(ptap1_33, (-78.71,-1.98), rotation=pi, x_reflection=True))
c_2div.add(gdstk.Reference(ptap1_33, (-79.05,-1.98), rotation=pi, x_reflection=True))
c_2div.add(gdstk.Reference(ptap1_33, (-79.39,-1.98), rotation=pi, x_reflection=True))
c_2div.add(gdstk.Reference(ptap1_33, (-79.73,-1.98), rotation=pi, x_reflection=True))
c_2div.add(gdstk.Reference(d_flip_flop, (-79.65,23.08), rotation=pi, x_reflection=True))
c_2div.add(gdstk.Reference(ptap1_33, (-78.37,37.26), rotation=pi, x_reflection=True))
c_2div.add(gdstk.Reference(ptap1_33, (-78.71,37.26), rotation=pi, x_reflection=True))
c_2div.add(gdstk.Reference(ptap1_33, (-79.05,37.26), rotation=pi, x_reflection=True))
c_2div.add(gdstk.Reference(ptap1_33, (-79.39,37.26), rotation=pi, x_reflection=True))
c_2div.add(gdstk.Reference(ptap1_33, (-79.73,37.26), rotation=pi, x_reflection=True))
c_2div.add(gdstk.Reference(via_39, (-79.095,32.09)))
c_2div.add(gdstk.Reference(via_1_10, (-79.095,32.09)))
c_2div.add(gdstk.Reference(via_39, (-79.095,30.13)))
c_2div.add(gdstk.Reference(via_1_10, (-79.095,30.13)))
c_2div.add(gdstk.Reference(via_39, (-79.095,19.01)))
c_2div.add(gdstk.Reference(via_1_10, (-79.095,19.01)))
c_2div.add(gdstk.Reference(via_39, (-79.095,17.05)))
c_2div.add(gdstk.Reference(via_1_10, (-79.095,17.05)))
c_2div.add(gdstk.Reference(via_39, (-79.095,5.93)))
c_2div.add(gdstk.Reference(via_1_10, (-79.095,5.93)))
c_2div.add(gdstk.Reference(via_39, (-79.095,3.97)))
c_2div.add(gdstk.Reference(via_1_10, (-79.095,3.97)))
c_2div.add(gdstk.Label('vp', (-70.66,44.23), layer=8, texttype=25))
c_2div.add(gdstk.Label('vp', (-71.45,31.04), layer=8, texttype=25))
c_2div.add(gdstk.Label('vp', (-71.84,18.09), layer=8, texttype=25))
c_2div.add(gdstk.Label('vp', (-72,4.99), layer=8, texttype=25))
c_2div.add(gdstk.Label('vp', (-72.21,-8.08), layer=8, texttype=25))
c_2div.add(gdstk.Label('gd', (-73.17,-1.62), layer=8, texttype=25))
c_2div.add(gdstk.Label('gd', (-76.42,11.41), layer=8, texttype=25))
c_2div.add(gdstk.Label('gd', (-76.74,24.67), layer=8, texttype=25))
c_2div.add(gdstk.Label('gd', (-74.93,37.61), layer=8, texttype=25))
c_2div.add(gdstk.Label('div2', (-66.52,37.66), layer=10, texttype=25))
c_2div.add(gdstk.Label('div4', (-66.01,31.12), layer=10, texttype=25))
c_2div.add(gdstk.Label('div8', (-65.37,24.57), layer=10, texttype=25))
c_2div.add(gdstk.Label('div16', (-64.78,18.03), layer=10, texttype=25))
c_2div.add(gdstk.Label('div32', (-64.18,11.49), layer=10, texttype=25))
c_2div.add(gdstk.Label('div64', (-63.69,4.95), layer=10, texttype=25))
c_2div.add(gdstk.Label('div128', (-63.13,-1.59), layer=10, texttype=25))
c_2div.add(gdstk.Label('in', (-66.95,36.12), layer=30, texttype=25))

lib.write_gds('2Div.gds')
